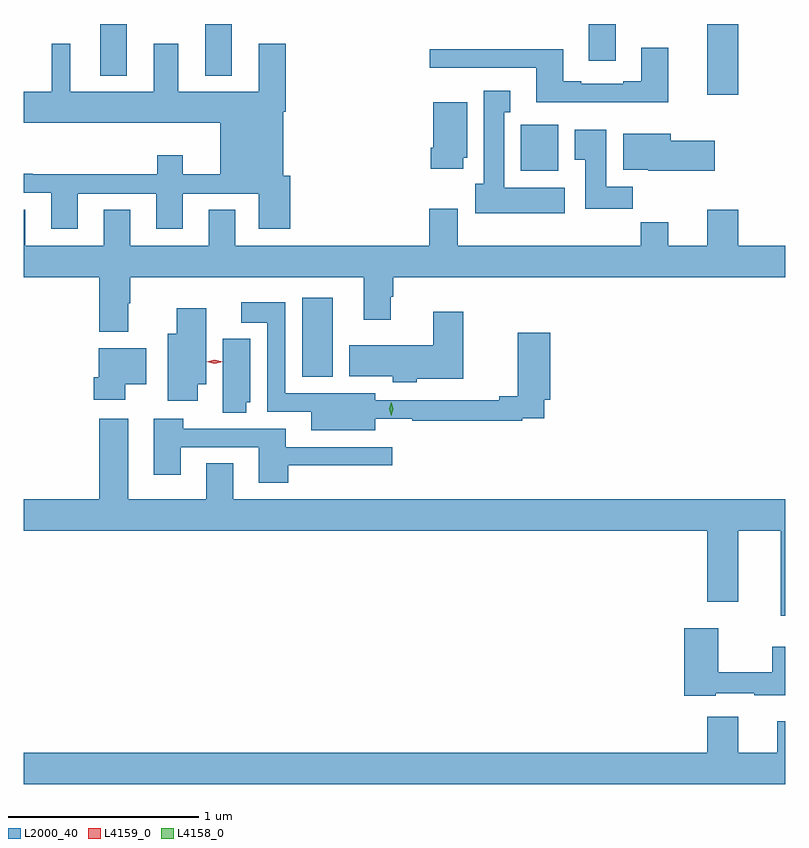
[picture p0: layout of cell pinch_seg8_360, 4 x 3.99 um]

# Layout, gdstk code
import gdstk
lib = gdstk.Library(unit=1e-6, precision=1e-09)
def R(c, l, rs):  # rectangles x0, y0, x1, y1
    for r in rs: c.add(gdstk.rectangle(r[:2], r[2:], *l))
def P(c, l, *ps):  # polygons
    for p in ps: c.add(gdstk.Polygon(p, *l))
L2000_40 = (2000, 40)
L4158_0 = (4158, 0)
L4159_0 = (4159, 0)

pinch_seg8_360 = lib.new_cell('pinch_seg8_360')
R(pinch_seg8_360, L2000_40, [(438.605,1111.979,438.766,1112.395), (439.754,1113.062,439.951,1113.304), (440.732,1113.462,440.896,1113.834), (437.543,1113.563,437.683,1113.834), (438.095,1113.563,438.235,1113.834), (440.111,1113.642,440.251,1113.834)])
P(pinch_seg8_360, L2000_40, [(437.425,1112.943),(437.837,1112.943),(437.837,1112.757),(437.977,1112.757),(437.977,1112.943),(438.377,1112.943),(438.377,1112.757),(438.542,1112.757),(438.542,1113.036),(438.505,1113.036),(438.505,1113.374),(438.518,1113.374),(438.518,1113.73),(438.377,1113.73),(438.377,1113.478),(437.953,1113.478),(437.953,1113.73),(437.825,1113.73),(437.825,1113.478),(437.386,1113.478),(437.386,1113.73),(437.288,1113.73),(437.288,1113.478),(437.142,1113.478),(437.142,1113.314),(438.173,1113.314),(438.173,1113.044),(437.977,1113.044),(437.977,1113.145),(437.843,1113.145),(437.843,1113.044),(437.189,1113.044),(437.189,1113.047),(437.142,1113.047),(437.142,1112.946),(437.285,1112.946),(437.285,1112.757),(437.425,1112.757)],
  [(440.527,1113.709),(440.387,1113.709),(440.387,1113.532),(440.291,1113.532),(440.291,1113.519),(440.071,1113.519),(440.071,1113.532),(439.975,1113.532),(439.975,1113.7),(439.275,1113.7),(439.275,1113.603),(439.835,1113.603),(439.835,1113.422),(440.527,1113.422)],
  [(439.984,1112.974),(439.666,1112.974),(439.666,1113.371),(439.699,1113.371),(439.699,1113.484),(439.559,1113.484),(439.559,1112.994),(439.514,1112.994),(439.514,1112.84),(439.984,1112.84)],
  [(439.45,1113.132),(439.471,1113.132),(439.471,1113.424),(439.292,1113.424),(439.292,1113.184),(439.28,1113.184),(439.28,1113.072),(439.45,1113.072)],
  [(440.342,1112.98),(440.203,1112.98),(440.203,1113.277),(440.036,1113.277),(440.036,1113.121),(440.093,1113.121),(440.093,1112.862),(440.342,1112.862)],
  [(440.773,1113.22),(440.542,1113.22),(440.542,1113.256),(440.291,1113.256),(440.291,1113.068),(440.424,1113.068),(440.424,1113.062),(440.773,1113.062)],
  [(437.702,1112.504),(438.929,1112.504),(438.929,1112.28),(439.069,1112.28),(439.069,1112.4),(439.082,1112.4),(439.082,1112.504),(441.142,1112.504),(441.142,1112.668),(440.896,1112.668),(440.896,1112.857),(440.732,1112.857),(440.732,1112.668),(440.527,1112.668),(440.527,1112.792),(440.383,1112.792),(440.383,1112.668),(439.423,1112.668),(439.423,1112.863),(439.271,1112.863),(439.271,1112.668),(438.253,1112.668),(438.253,1112.858),(438.113,1112.858),(438.113,1112.668),(437.701,1112.668),(437.701,1112.858),(437.561,1112.858),(437.561,1112.668),(437.149,1112.668),(437.149,1112.858),(437.142,1112.858),(437.142,1112.504),(437.537,1112.504),(437.537,1112.216),(437.689,1112.216),(437.689,1112.366),(437.702,1112.366)],
  [(438.988,1111.76),(439.184,1111.76),(439.184,1111.749),(439.76,1111.749),(439.76,1111.761),(439.877,1111.761),(439.877,1111.859),(439.907,1111.859),(439.907,1112.212),(439.736,1112.212),(439.736,1111.877),(439.64,1111.877),(439.64,1111.857),(438.988,1111.857),(438.988,1111.894),(438.762,1111.894),(438.762,1111.893),(438.516,1111.893),(438.516,1112.371),(438.285,1112.371),(438.285,1112.264),(438.42,1112.264),(438.42,1111.797),(438.653,1111.797),(438.653,1111.7),(438.988,1111.7)],
  [(438.055,1111.94),(438.1,1111.94),(438.1,1112.341),(437.945,1112.341),(437.945,1112.206),(437.897,1112.206),(437.897,1111.854),(438.055,1111.854)],
  [(439.206,1111.97),(439.45,1111.97),(439.45,1112.323),(439.292,1112.323),(439.292,1112.146),(438.851,1112.146),(438.851,1111.982),(439.081,1111.982),(439.081,1111.952),(439.206,1111.952)],
  [(438.31,1111.845),(438.331,1111.845),(438.331,1112.179),(438.188,1112.179),(438.188,1111.792),(438.31,1111.792)],
  [(437.674,1111.94),(437.785,1111.94),(437.785,1112.131),(437.534,1112.131),(437.534,1111.977),(437.509,1111.977),(437.509,1111.859),(437.674,1111.859)],
  [(438.53,1111.514),(439.078,1111.514),(439.078,1111.611),(438.517,1111.611),(438.517,1111.707),(437.978,1111.707),(437.978,1111.759),(437.825,1111.759),(437.825,1111.464),(437.965,1111.464),(437.965,1111.611),(438.377,1111.611),(438.377,1111.422),(438.53,1111.422)],
  [(441.142,1111.336),(438.241,1111.336),(438.241,1111.526),(438.101,1111.526),(438.101,1111.336),(437.689,1111.336),(437.689,1111.759),(437.537,1111.759),(437.537,1111.336),(437.142,1111.336),(437.142,1111.172),(440.732,1111.172),(440.732,1110.798),(440.896,1110.798),(440.896,1111.172),(441.119,1111.172),(441.119,1110.723),(441.142,1110.723)],
  [(440.778,1110.318),(440.979,1110.318),(440.979,1110.306),(441.142,1110.306),(441.142,1110.562),(441.075,1110.562),(441.075,1110.427),(440.79,1110.427),(440.79,1110.658),(440.612,1110.658),(440.612,1110.305),(440.778,1110.305)],
  [(441.142,1110.169),(441.101,1110.169),(441.101,1110.004),(440.896,1110.004),(440.896,1110.193),(440.732,1110.193),(440.732,1110.004),(437.142,1110.004),(437.142,1109.84),(441.142,1109.84)])
P(pinch_seg8_360, L4158_0, [(439.073,1111.775),(439.073,1111.775),(439.063,1111.811),(439.073,1111.847),(439.073,1111.847),(439.073,1111.847),(439.083,1111.811),(439.073,1111.775)])
P(pinch_seg8_360, L4159_0, [(438.145,1112.049),(438.104,1112.06),(438.104,1112.06),(438.104,1112.06),(438.146,1112.069),(438.186,1112.058),(438.186,1112.058),(438.186,1112.058)])

lib.write_gds('pinch_seg8_360.gds')
